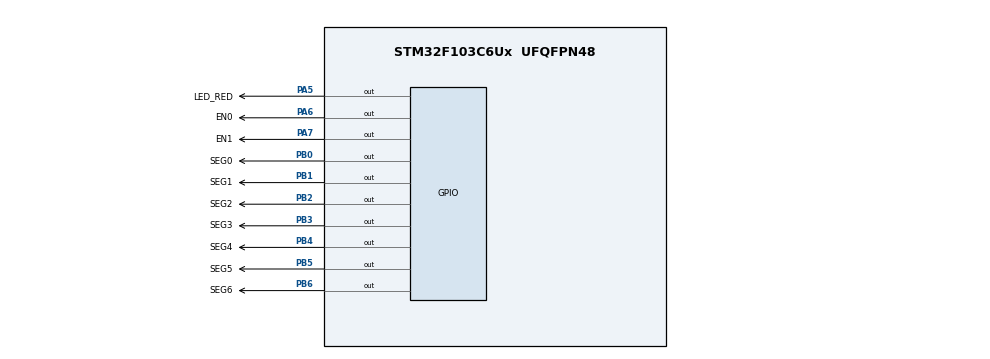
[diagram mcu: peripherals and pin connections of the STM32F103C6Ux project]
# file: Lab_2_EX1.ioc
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Mcu.Family=STM32F1
Mcu.Name=STM32F103C6Ux
Mcu.Package=UFQFPN48
NVIC.PriorityGroup=NVIC_PRIORITYGROUP_4
NVIC.TIM2_IRQn=true\:0\:0\:false\:false\:true\:true\:true
PA5.GPIO_Label=LED_RED
PA5.Signal=GPIO_Output
PA6.GPIO_Label=EN0
PA6.Signal=GPIO_Output
PA7.GPIO_Label=EN1
PA7.Signal=GPIO_Output
PB0.GPIO_Label=SEG0
PB0.Signal=GPIO_Output
PB1.GPIO_Label=SEG1
PB1.Signal=GPIO_Output
PB2.GPIO_Label=SEG2
PB2.Signal=GPIO_Output
PB3.GPIO_Label=SEG3
PB3.Signal=GPIO_Output
PB4.GPIO_Label=SEG4
PB4.Signal=GPIO_Output
PB5.GPIO_Label=SEG5
PB5.Signal=GPIO_Output
PB6.GPIO_Label=SEG6
PB6.Signal=GPIO_Output
ProjectManager.HeapSize=0x200
ProjectManager.StackSize=0x400
ProjectManager.TargetToolchain=STM32CubeIDE
RCC.APB1Freq_Value=8000000
RCC.APB2Freq_Value=8000000
TIM2.Period=9
TIM2.Prescaler=7999
VP_SYS_VS_ND.Mode=No_Debug
VP_TIM2_VS_ClockSourceINT.Mode=Internal
board=custom

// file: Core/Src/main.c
/* USER CODE BEGIN Header */
/**
  ******************************************************************************
  * @file           : main.c
  * @brief          : Main program body
  ******************************************************************************
  * @attention
  *
  * <h2><center>&copy; Copyright (c) 2026 STMicroelectronics.
  * All rights reserved.</center></h2>
  *
  * This software component is licensed by ST under BSD 3-Clause license,
  * the "License"; You may not use this file except in compliance with the
  * License. You may obtain a copy of the License at:
  *                        opensource.org/licenses/BSD-3-Clause
  *
  ******************************************************************************
  */
/* USER CODE END Header */
#include "main.h"

TIM_HandleTypeDef htim2;

void SystemClock_Config(void);
static void MX_GPIO_Init(void);
static void MX_TIM2_Init(void);

/* USER CODE BEGIN 0 */
const uint8_t seg_code[10] = {
  0x3F, 0x06, 0x5B, 0x4F, 0x66, 0x6D, 0x7D, 0x07, 0x7F, 0x6F
};

void display7SEG(int num) {
  if (num < 0 || num > 9) return;
  uint8_t code = seg_code[num];
  for (int i = 0; i < 7; i++) {
    // common anode: segment ON = write 0
    HAL_GPIO_WritePin(GPIOB, GPIO_PIN_0 << i,
                      ((code >> i) & 1) ? GPIO_PIN_RESET : GPIO_PIN_SET);
  }
}
/* USER CODE END 0 */

int main(void)
{

  /* MCU Configuration--------------------------------------------------------*/

  /* Reset of all peripherals, Initializes the Flash interface and the Systick. */
  HAL_Init();

  /* Configure the system clock */
  SystemClock_Config();

  /* Initialize all configured peripherals */
  MX_GPIO_Init();
  MX_TIM2_Init();
  /* USER CODE BEGIN 2 */
  HAL_TIM_Base_Start_IT(&htim2);
  /* USER CODE END 2 */

  /* Infinite loop */
  while (1)
  {

  }
}

void SystemClock_Config(void)
{
  RCC_OscInitTypeDef RCC_OscInitStruct = {0};
  RCC_ClkInitTypeDef RCC_ClkInitStruct = {0};

  /** Initializes the RCC Oscillators according to the specified parameters
  * in the RCC_OscInitTypeDef structure.
  */
  RCC_OscInitStruct.OscillatorType = RCC_OSCILLATORTYPE_HSI;
  RCC_OscInitStruct.HSIState = RCC_HSI_ON;
  RCC_OscInitStruct.HSICalibrationValue = RCC_HSICALIBRATION_DEFAULT;
  RCC_OscInitStruct.PLL.PLLState = RCC_PLL_NONE;
  if (HAL_RCC_OscConfig(&RCC_OscInitStruct) != HAL_OK)
  {
    Error_Handler();
  }
  /** Initializes the CPU, AHB and APB buses clocks
  */
  RCC_ClkInitStruct.ClockType = RCC_CLOCKTYPE_HCLK|RCC_CLOCKTYPE_SYSCLK
                              |RCC_CLOCKTYPE_PCLK1|RCC_CLOCKTYPE_PCLK2;
  RCC_ClkInitStruct.SYSCLKSource = RCC_SYSCLKSOURCE_HSI;
  RCC_ClkInitStruct.AHBCLKDivider = RCC_SYSCLK_DIV1;
  RCC_ClkInitStruct.APB1CLKDivider = RCC_HCLK_DIV1;
  RCC_ClkInitStruct.APB2CLKDivider = RCC_HCLK_DIV1;

  if (HAL_RCC_ClockConfig(&RCC_ClkInitStruct, FLASH_LATENCY_0) != HAL_OK)
  {
    Error_Handler();
  }
}

static void MX_TIM2_Init(void)
{

  TIM_ClockConfigTypeDef sClockSourceConfig = {0};
  TIM_MasterConfigTypeDef sMasterConfig = {0};

  htim2.Instance = TIM2;
  htim2.Init.Prescaler = 7999;
  htim2.Init.CounterMode = TIM_COUNTERMODE_UP;
  htim2.Init.Period = 9;
  htim2.Init.ClockDivision = TIM_CLOCKDIVISION_DIV1;
  htim2.Init.AutoReloadPreload = TIM_AUTORELOAD_PRELOAD_DISABLE;
  if (HAL_TIM_Base_Init(&htim2) != HAL_OK)
  {
    Error_Handler();
  }
  sClockSourceConfig.ClockSource = TIM_CLOCKSOURCE_INTERNAL;
  if (HAL_TIM_ConfigClockSource(&htim2, &sClockSourceConfig) != HAL_OK)
  {
    Error_Handler();
  }
  sMasterConfig.MasterOutputTrigger = TIM_TRGO_RESET;
  sMasterConfig.MasterSlaveMode = TIM_MASTERSLAVEMODE_DISABLE;
  if (HAL_TIMEx_MasterConfigSynchronization(&htim2, &sMasterConfig) != HAL_OK)
  {
    Error_Handler();
  }

}

static void MX_GPIO_Init(void)
{
  GPIO_InitTypeDef GPIO_InitStruct = {0};

  /* GPIO Ports Clock Enable */
  __HAL_RCC_GPIOA_CLK_ENABLE();
  __HAL_RCC_GPIOB_CLK_ENABLE();

  /*Configure GPIO pin Output Level */
  HAL_GPIO_WritePin(GPIOA, LED_RED_Pin|EN0_Pin|EN1_Pin, GPIO_PIN_RESET);

  /*Configure GPIO pin Output Level */
  HAL_GPIO_WritePin(GPIOB, SEG0_Pin|SEG1_Pin|SEG2_Pin|SEG3_Pin
                          |SEG4_Pin|SEG5_Pin|SEG6_Pin, GPIO_PIN_RESET);

  /*Configure GPIO pins : LED_RED_Pin EN0_Pin EN1_Pin */
  GPIO_InitStruct.Pin = LED_RED_Pin|EN0_Pin|EN1_Pin;
  GPIO_InitStruct.Mode = GPIO_MODE_OUTPUT_PP;
  GPIO_InitStruct.Pull = GPIO_NOPULL;
  GPIO_InitStruct.Speed = GPIO_SPEED_FREQ_LOW;
  HAL_GPIO_Init(GPIOA, &GPIO_InitStruct);

  /*Configure GPIO pins : SEG0_Pin SEG1_Pin SEG2_Pin SEG3_Pin
                           SEG4_Pin SEG5_Pin SEG6_Pin */
  GPIO_InitStruct.Pin = SEG0_Pin|SEG1_Pin|SEG2_Pin|SEG3_Pin
                          |SEG4_Pin|SEG5_Pin|SEG6_Pin;
  GPIO_InitStruct.Mode = GPIO_MODE_OUTPUT_PP;
  GPIO_InitStruct.Pull = GPIO_NOPULL;
  GPIO_InitStruct.Speed = GPIO_SPEED_FREQ_LOW;
  HAL_GPIO_Init(GPIOB, &GPIO_InitStruct);

}

/* USER CODE BEGIN 4 */
int counter = 50;      // 50 x 10ms = 500ms
int led_status = 0;    // which display is on next

void HAL_TIM_PeriodElapsedCallback(TIM_HandleTypeDef *htim)
{
  if (htim->Instance != TIM2) return;

  counter--;
  if (counter <= 0)
  {
    counter = 50;

    // turn both off first to avoid ghosting
    HAL_GPIO_WritePin(EN0_GPIO_Port, EN0_Pin, GPIO_PIN_SET);
    HAL_GPIO_WritePin(EN1_GPIO_Port, EN1_Pin, GPIO_PIN_SET);

    if (led_status == 0)
    {
      display7SEG(1);
      HAL_GPIO_WritePin(EN0_GPIO_Port, EN0_Pin, GPIO_PIN_RESET); // display 1 ON
      led_status = 1;
    } else
    {
      display7SEG(2);
      HAL_GPIO_WritePin(EN1_GPIO_Port, EN1_Pin, GPIO_PIN_RESET); // display 2 ON
      led_status = 0;
    }
  }
}
/* USER CODE END 4 */

void Error_Handler(void)
{
  __disable_irq();
  while (1)
  {
  }
}

/************************ (C) COPYRIGHT STMicroelectronics *****END OF FILE****/
